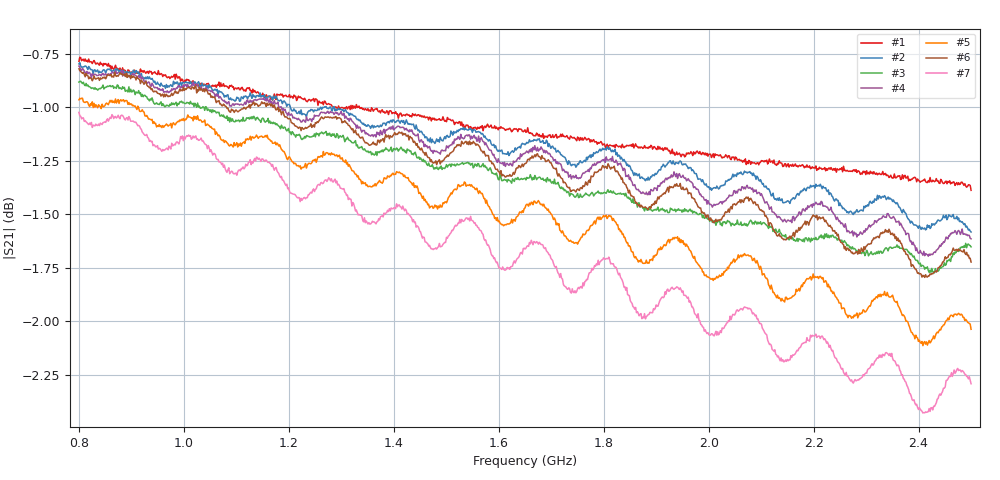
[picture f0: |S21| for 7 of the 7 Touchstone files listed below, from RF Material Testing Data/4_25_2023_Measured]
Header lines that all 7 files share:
!Keysight Technologies N9950B: A.12.38
!Timezone: (UTC-06:00) Central Time (US & Canada)
!Model: N9950B
!Serial: MY61131330
!GPS Latitude:
!GPS Longitude:
!GPS TimeStamp: 0001-01-01 00:00:00Z
!GPS Seconds Since Last Read: 0
!Correction: S11(Rdy)S21(Rdy)S12(Rdy)S22(Rdy)
!S2P File: Measurements:S11,S21,S12,S22:
# Hz S DB R 50
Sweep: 800 MHz to 2.5 GHz
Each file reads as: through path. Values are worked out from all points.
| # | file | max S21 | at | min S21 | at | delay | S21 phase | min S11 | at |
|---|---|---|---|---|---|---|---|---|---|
| 1 | 4_25_5cm_air_unsmoothed.s2p | -0.77 dB | 801.7 MHz | -1.4 dB | 2.5 GHz | 7.76 ns | 67 deg at 1.65 GHz | -68.8 dB | 2.252 GHz |
| 2 | 4_25_55mm_pla_unsmoothed.s2p | -0.79 dB | 801.7 MHz | -1.6 dB | 2.5 GHz | 7.77 ns | 60 deg at 1.65 GHz | -34.6 dB | 898.6 MHz |
| 3 | 4_25_5200um_durable_sla.s2p | -0.88 dB | 803.4 MHz | -1.8 dB | 2.43 GHz | 7.77 ns | 59 deg at 1.65 GHz | -27.6 dB | 900.3 MHz |
| 4 | 4_25_7150um_pla.s2p | -0.81 dB | 800 MHz | -1.7 dB | 2.418 GHz | 7.77 ns | 58 deg at 1.65 GHz | -29.7 dB | 898.6 MHz |
| 5 | 4_25_7430um_durable_sla.s2p | -0.96 dB | 805.1 MHz | -2.1 dB | 2.408 GHz | 7.78 ns | 55 deg at 1.65 GHz | -23.6 dB | 895.2 MHz |
| 6 | 4_25_8750um_pla.s2p | -0.82 dB | 800 MHz | -1.8 dB | 2.412 GHz | 7.78 ns | 56 deg at 1.65 GHz | -26.3 dB | 895.2 MHz |
| 7 | 4_25_10330um_durable_sla.s2p | -1.02 dB | 800 MHz | -2.4 dB | 2.408 GHz | 7.78 ns | 51 deg at 1.65 GHz | -19.4 dB | 898.6 MHz |
